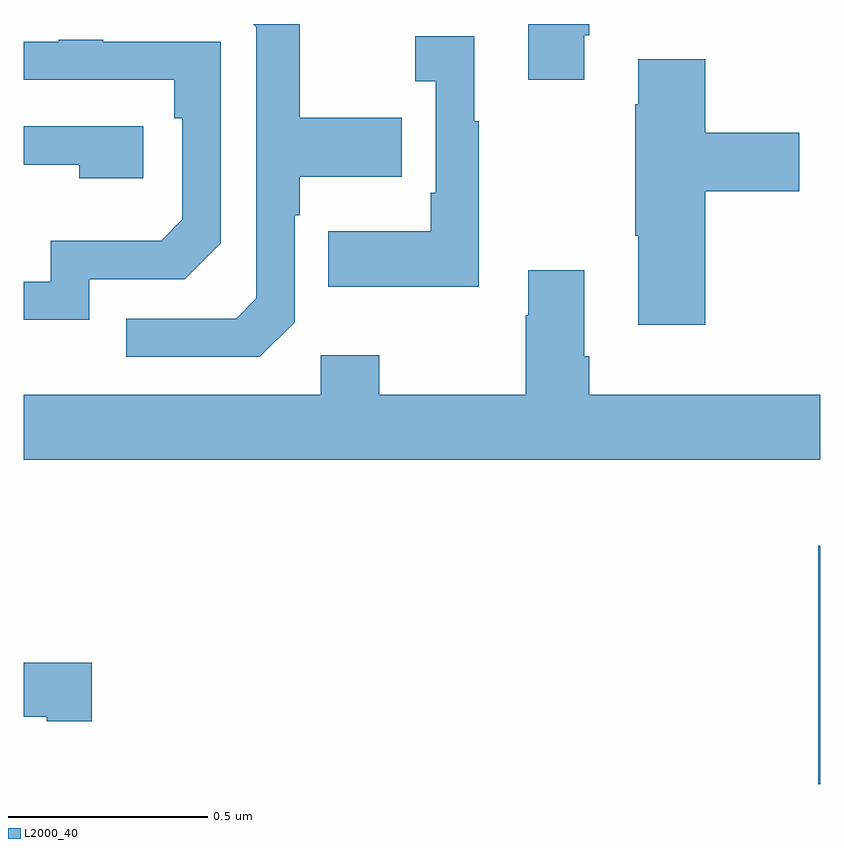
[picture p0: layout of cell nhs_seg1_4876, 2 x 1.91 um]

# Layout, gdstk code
import gdstk
lib = gdstk.Library(unit=1e-6, precision=1e-09)
def R(c, l, rs):  # rectangles x0, y0, x1, y1
    for r in rs: c.add(gdstk.rectangle(r[:2], r[2:], *l))
def P(c, l, *ps):  # polygons
    for p in ps: c.add(gdstk.Polygon(p, *l))
L2000_40 = (2000, 40)

nhs_seg1_4876 = lib.new_cell('nhs_seg1_4876')
R(nhs_seg1_4876, L2000_40, [(173.995,512.29,174,512.888)])
P(nhs_seg1_4876, L2000_40, [(173.407,514.171),(173.42,514.171),(173.42,514.199),(173.267,514.199),(173.267,514.059),(173.407,514.059)],
  [(172.68,513.45),(172.68,513.719),(172.693,513.719),(172.693,513.815),(172.949,513.815),(172.949,513.963),(172.693,513.963),(172.693,514.199),(172.576,514.199),(172.584,514.191),(172.584,513.51),(172.533,513.459),(172.257,513.459),(172.257,513.363),(172.593,513.363)],
  [(173.143,513.955),(173.131,513.955),(173.131,514.168),(172.983,514.168),(172.983,514.055),(173.034,514.055),(173.034,513.775),(173.022,513.775),(173.022,513.679),(172.765,513.679),(172.765,513.539),(173.143,513.539)],
  [(172.164,513.558),(172.404,513.558),(172.494,513.648),(172.494,514.155),(172.199,514.155),(172.199,514.16),(172.087,514.16),(172.087,514.155),(172,514.155),(172,514.059),(172.378,514.059),(172.378,513.962),(172.398,513.962),(172.398,513.708),(172.345,513.655),(172.068,513.655),(172.068,513.552),(172,513.552),(172,513.456),(172.164,513.456)],
  [(173.711,513.779),(173.947,513.779),(173.947,513.926),(173.711,513.926),(173.711,514.111),(173.543,514.111),(173.543,513.998),(173.536,513.998),(173.536,513.667),(173.543,513.667),(173.543,513.444),(173.711,513.444)],
  [(172.3,513.942),(172,513.942),(172,513.846),(172.139,513.846),(172.139,513.812),(172.3,513.812)],
  [(174,513.268),(173.42,513.268),(173.42,513.364),(173.407,513.364),(173.407,513.58),(173.267,513.58),(173.267,513.467),(173.26,513.467),(173.26,513.268),(172.893,513.268),(172.893,513.367),(172.746,513.367),(172.746,513.268),(172,513.268),(172,513.104),(174,513.104)],
  [(172.171,512.594),(172,512.594),(172,512.459),(172.058,512.459),(172.058,512.447),(172.171,512.447)])

lib.write_gds('nhs_seg1_4876.gds')
